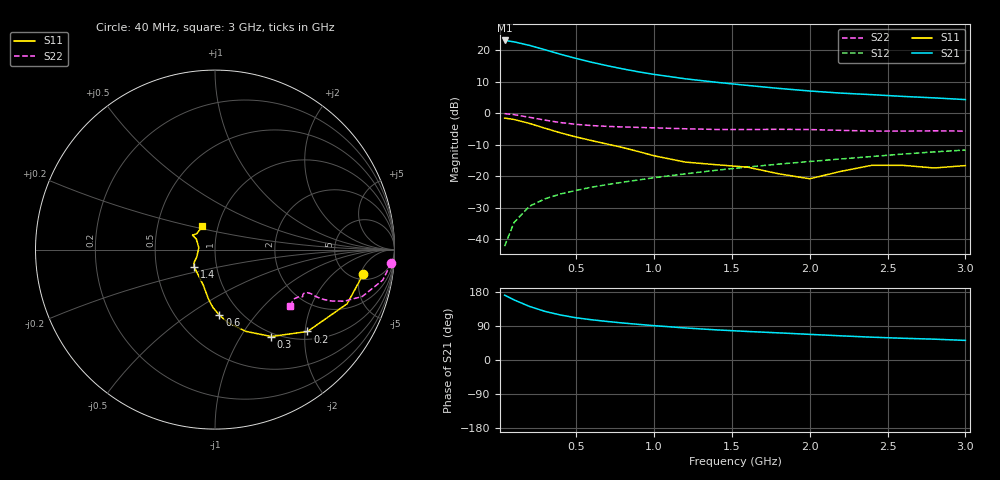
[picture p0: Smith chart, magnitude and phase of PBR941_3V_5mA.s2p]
! Filename:  PBR941D.S2P  Version:  3.0
! Philips part #:  PBR941  Date: July 1998
! Bias condition:  Vce=3V, Ic=5.0mA
#  MHz  S  MA  R 50
! Freq  S11  S21  S12  S22
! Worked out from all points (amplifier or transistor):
!   21 points, 40 MHz to 3 GHz, reference 50 ohm
!   highest |S21| = 23.1 dB at 40 MHz (marker M1)
!   |S21| within 3 dB of that: start of sweep to 302.9 MHz
!   unconditionally stable (mu >= 1): 1.222 GHz to 2.531 GHz
!   at 300 MHz: K = 0.49, MSG = 23.7 dB, |S12| = -27.2 dB
!   at 1 GHz: K = 0.95, MSG = 16.4 dB, |S12| = -20.5 dB
!   at 3 GHz: K = 0.99, MSG = 8.0 dB, |S12| = -11.7 dB
!   S11 on the Smith chart (normalised r, x): 40 MHz: 6.23, -5.60; 200 MHz: 1.19, -2.06; 300 MHz: 0.95, -1.37; 600 MHz: 0.80, -0.67; 1.4 GHz: 0.78, -0.16; 3 GHz: 0.84, +0.22
40  0.838 -9.2  14.33 171.0  0.007714 85.2  0.9847 -4.3
100  0.7959 -22.3  13.63 158.7  0.01825 78.5  0.9502 -10.3
200  0.688 -41.5  11.96 141.4  0.03333 70.6  0.8616 -17.6
300  0.577 -57.1  10.19 128.2  0.04365 66.5  0.7755 -21.8
400  0.4867 -69.3  8.633 118.6  0.05223 65.2  0.7101 -23.8
500  0.4186 -79.1  7.416 111.5  0.0593 65.2  0.6654 -24.6
600  0.3669 -86.2  6.447 106.1  0.06693 65.8  0.6361 -24.9
700  0.3231 -92.0  5.682 101.6  0.07353 66.7  0.6178 -24.9
800  0.2845 -96.7  5.058 97.7  0.08026 67.9  0.6051 -24.8
900  0.2458 -101.6  4.549 94.0  0.08702 68.8  0.5949 -24.7
1000  0.211 -107.7  4.142 90.7  0.09439 69.8  0.5852 -24.7
1200  0.1673 -124.7  3.527 84.6  0.1087 71.0  0.5661 -25.1
1400  0.152 -140.0  3.102 79.5  0.1241 72.0  0.5517 -26.2
1600  0.1389 -147.6  2.767 75.3  0.1394 73.0  0.5503 -27.4
1800  0.1091 -158.4  2.48 71.6  0.1553 74.0  0.5547 -28.1
2000  0.09082 173.5  2.255 67.6  0.1711 74.2  0.5502 -28.6
2200  0.1192 150.6  2.086 63.8  0.1875 73.9  0.5343 -29.6
2400  0.1488 147.4  1.971 60.2  0.2051 73.9  0.5204 -31.7
2600  0.1484 147.6  1.849 57.3  0.2245 74.1  0.5195 -34.3
2800  0.1348 138.6  1.753 55.0  0.243 74.0  0.5256 -36.1
3000  0.1471 119.0  1.646 51.7  0.2601 73.3  0.5202 -36.8
